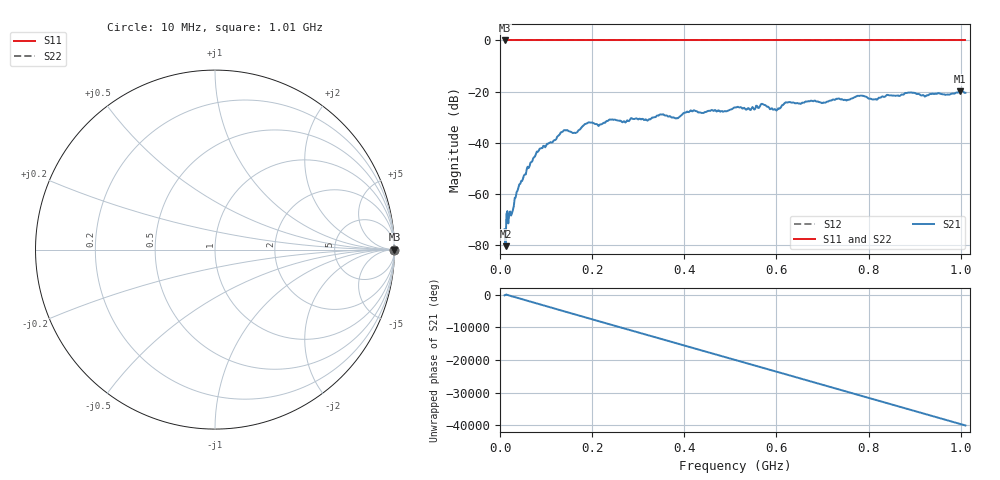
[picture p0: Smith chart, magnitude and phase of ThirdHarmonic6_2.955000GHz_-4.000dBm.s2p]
! 8/17/2025 8:19:12 AM
! C:\ANRITSUVNA\TEMP\TEMP.S2P
! CHANNEL.1
! TR.MEASUREMENT
! RAW.DATA
! RF.CORRECTION.OFF
! AVERAGING.OFF
! IF.BANDWIDTH: 5KHZ
! SWEEPTYPE:  FREQ.SWEEP(Linear)
! Reference Plane Port Info
! PORT:  PORT1  PORT2
! DISTANCE:  0  m  0  m
! TIME:  0  s  0  s
! PHASE.OFFSET:  0  deg.  0  deg.
! LOSS:  0  dB  0  dB
! REF.LOSS:  0  dB  0  dB
! REF.FREQ:  0  Hz  0  Hz
! Power Info
! POWER:  -20  dBm  -20  dBm
! EFF.POWER:  -20  dBm  -20  dBm
! SOURCE.ATTEN:  0  dB  0  dB
! TEST.ATTEN:  0  dB  0  dB
# GHZ S RI R 50.0
! FREQ.GHZ  S11RE  S11IM  S21RE  S21IM  S12RE  S12IM  S22RE  S22IM
!; PortSelection: Port_12
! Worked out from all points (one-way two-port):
!   501 points, 10 MHz to 1.01 GHz, reference 50 ohm
!   highest |S21| = -19.82 dB at 998 MHz (marker M1); lowest = -80.4 dB at 12 MHz (marker M2)
!   lowest |S11| = 0.0 dB at 10 MHz (marker M3)
!   |S11| at or under -10 dB: nowhere
!   |S22| runs from 0.0 to 0.0 dB; largest |S21 - S12| = 1.1
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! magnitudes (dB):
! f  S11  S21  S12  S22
! 10 MHz  0.0  -73.8  0.0  0.0
! 12 MHz  0.0  -80.4  0.0  0.0
! 18 MHz  0.0  -71.5  0.0  0.0
! 26 MHz  0.0  -67.5  0.0  0.0
! 42 MHz  0.0  -56.2  0.0  0.0
! 82 MHz  0.0  -43.5  0.0  0.0
! 136 MHz  0.0  -35.7  0.0  0.0
! 162 MHz  0.0  -36.1  0.0  0.0
! 178 MHz  0.0  -33.8  0.0  0.0
! 194 MHz  0.0  -32.0  0.0  0.0
! 322 MHz  0.0  -31.0  0.0  0.0
! 344 MHz  0.0  -29.4  0.0  0.0
! 384 MHz  0.0  -30.4  0.0  0.0
! 416 MHz  0.0  -27.6  0.0  0.0
! 510 MHz  0.0  -26.2  0.0  0.0
! 570 MHz  0.0  -24.8  0.0  0.0
! 598 MHz  0.0  -27.1  0.0  0.0
! 622 MHz  0.0  -24.2  0.0  0.0
! 678 MHz  0.0  -23.7  0.0  0.0
! 844 MHz  0.0  -21.4  0.0  0.0
! 998 MHz  0.0  -19.8  0.0  0.0
! 1.01 GHz  0.0  -20.5  0.0  0.0
